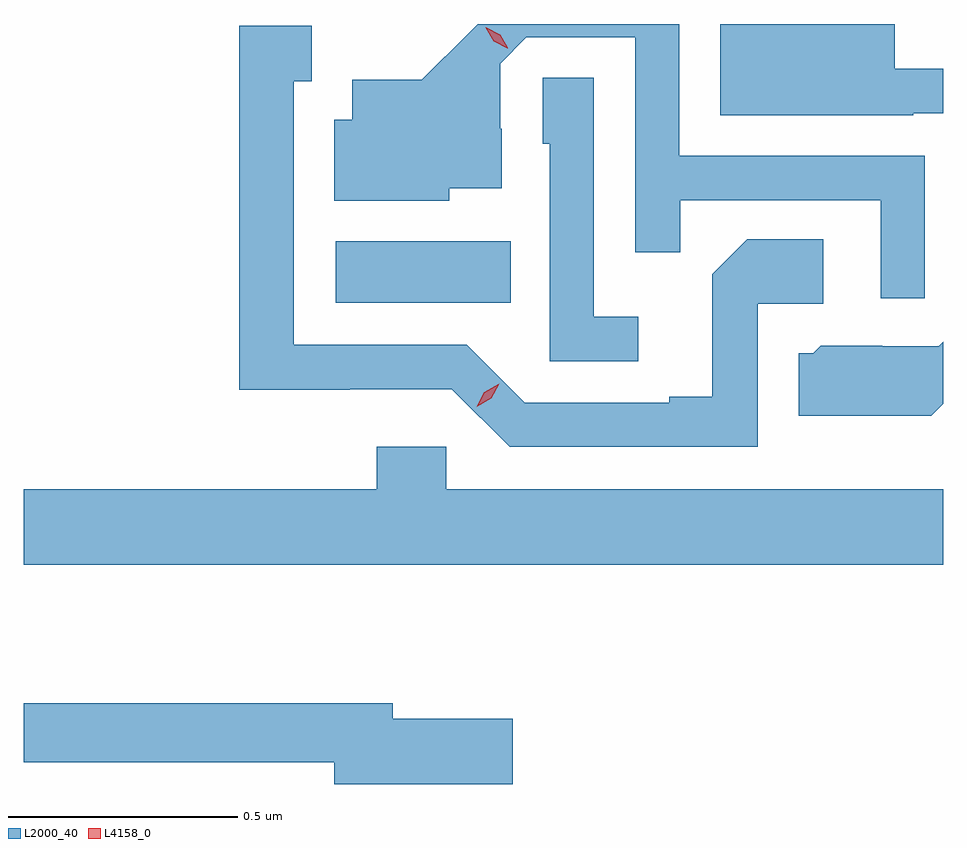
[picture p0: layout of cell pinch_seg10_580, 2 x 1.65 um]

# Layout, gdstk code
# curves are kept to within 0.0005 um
import gdstk
lib = gdstk.Library(unit=1e-6, precision=1e-09)
def R(c, l, rs):  # rectangles x0, y0, x1, y1
    for r in rs: c.add(gdstk.rectangle(r[:2], r[2:], *l))
def P(c, l, *ps):  # polygons
    for p in ps: c.add(gdstk.Polygon(p, *l))
L2000_40 = (2000, 40)
L4158_0 = (4158, 0)

pinch_seg10_580 = lib.new_cell('pinch_seg10_580')
R(pinch_seg10_580, L2000_40, [(301.878,1272.914,302.258,1273.048)])
P(pinch_seg10_580, L2000_40, [(303.134,1273.326),(303.199,1273.326),(303.199,1273.423),(303.094,1273.423),(303.094,1273.52),(302.714,1273.52),(302.714,1273.322),(303.134,1273.322)],
  [(303.159,1273.233),(302.625,1273.233),(302.625,1273.52),(302.187,1273.52),(302.065,1273.399),(301.913,1273.399),(301.913,1273.312),(301.874,1273.312),(301.874,1273.136),(302.124,1273.136),(302.124,1273.163),(302.239,1273.163),(302.239,1273.292),(302.235,1273.292),(302.235,1273.434),(302.292,1273.491),(302.529,1273.491),(302.529,1273.024),(302.627,1273.024),(302.627,1273.137),(303.063,1273.137),(303.063,1272.924),(303.159,1272.924)],
  [(302.796,1272.912),(302.938,1272.912),(302.938,1273.052),(302.773,1273.052),(302.697,1272.976),(302.697,1272.709),(302.603,1272.709),(302.603,1272.696),(302.289,1272.696),(302.163,1272.822),(301.786,1272.822),(301.786,1273.395),(301.825,1273.395),(301.825,1273.516),(301.668,1273.516),(301.668,1272.725),(301.908,1272.725),(301.908,1272.726),(302.13,1272.726),(302.256,1272.6),(302.796,1272.6)],
  [(302.536,1272.883),(302.439,1272.883),(302.439,1273.403),(302.328,1273.403),(302.328,1273.26),(302.343,1273.26),(302.343,1272.786),(302.536,1272.786)],
  [(303.199,1272.694),(303.199,1272.829),(303.189,1272.819),(303.066,1272.819),(303.066,1272.82),(302.932,1272.82),(302.916,1272.804),(302.885,1272.804),(302.885,1272.668),(303.173,1272.668)],
  [(303.199,1272.508),(302.118,1272.508),(302.118,1272.601),(301.967,1272.601),(301.967,1272.508),(301.199,1272.508),(301.199,1272.344),(303.199,1272.344)],
  [(302.263,1272.009),(302.002,1272.009),(302.002,1272.043),(301.199,1272.043),(301.199,1271.914),(301.874,1271.914),(301.874,1271.867),(302.263,1271.867)])
P(pinch_seg10_580, L4158_0, [(302.251,1273.467),(302.221,1273.483),(302.204,1273.512),(302.204,1273.513),(302.204,1273.513),(302.235,1273.497),(302.252,1273.468),(302.252,1273.467)],
  [(302.184,1272.687),(302.184,1272.687),(302.201,1272.719),(302.233,1272.738),(302.233,1272.738),(302.233,1272.738),(302.216,1272.706),(302.184,1272.687)])

lib.write_gds('pinch_seg10_580.gds')
